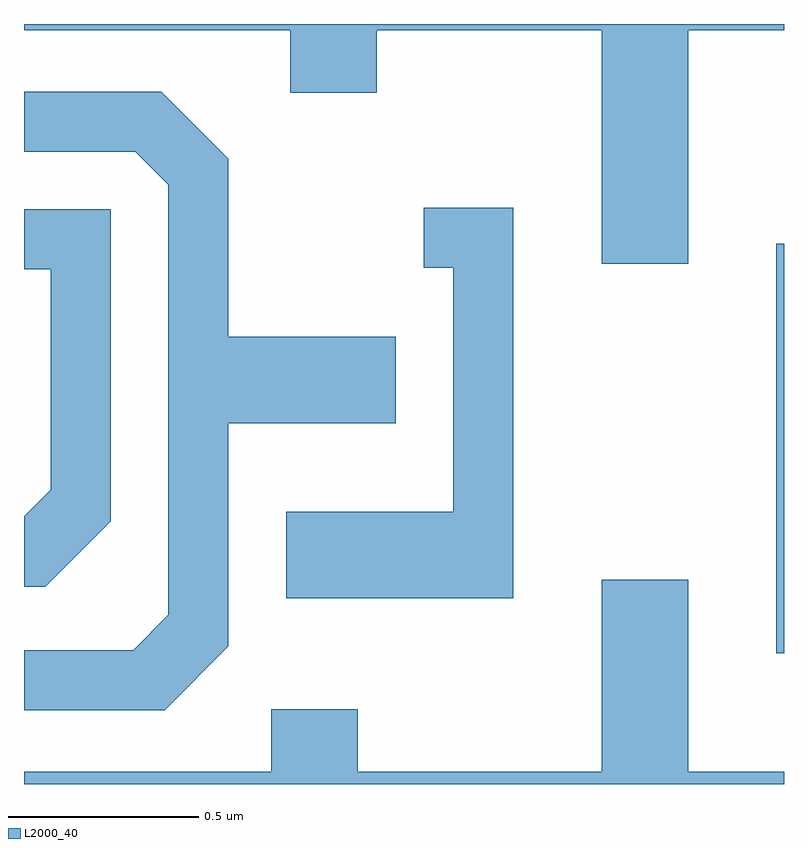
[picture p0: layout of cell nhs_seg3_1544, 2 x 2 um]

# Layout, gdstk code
import gdstk
lib = gdstk.Library(unit=1e-6, precision=1e-09)
def R(c, l, rs):  # rectangles x0, y0, x1, y1
    for r in rs: c.add(gdstk.rectangle(r[:2], r[2:], *l))
def P(c, l, *ps):  # polygons
    for p in ps: c.add(gdstk.Polygon(p, *l))
L2000_40 = (2000, 40)

nhs_seg3_1544 = lib.new_cell('nhs_seg3_1544')
R(nhs_seg3_1544, L2000_40, [(198.591,1153.236,198.611,1154.314)])
P(nhs_seg3_1544, L2000_40, [(198.359,1154.876),(198.611,1154.876),(198.611,1154.892),(196.611,1154.892),(196.611,1154.876),(197.311,1154.876),(197.311,1154.711),(197.539,1154.711),(197.539,1154.876),(198.131,1154.876),(198.131,1154.261),(198.359,1154.261)],
  [(197.149,1153.254),(197.149,1153.841),(197.589,1153.841),(197.589,1154.069),(197.149,1154.069),(197.149,1154.537),(196.972,1154.714),(196.611,1154.714),(196.611,1154.556),(196.904,1154.556),(196.991,1154.469),(196.991,1153.337),(196.899,1153.244),(196.611,1153.244),(196.611,1153.086),(196.982,1153.086)],
  [(197.899,1154.409),(197.663,1154.409),(197.663,1154.251),(197.741,1154.251),(197.741,1153.609),(197.301,1153.609),(197.301,1153.381),(197.899,1153.381)],
  [(196.839,1153.584),(196.839,1154.404),(196.611,1154.404),(196.611,1154.246),(196.681,1154.246),(196.681,1153.667),(196.611,1153.596),(196.611,1153.411),(196.667,1153.411)],
  [(198.611,1152.924),(198.359,1152.924),(198.359,1153.429),(198.131,1153.429),(198.131,1152.924),(197.489,1152.924),(197.489,1153.089),(197.261,1153.089),(197.261,1152.924),(196.611,1152.924),(196.611,1152.892),(198.611,1152.892)])

lib.write_gds('nhs_seg3_1544.gds')
